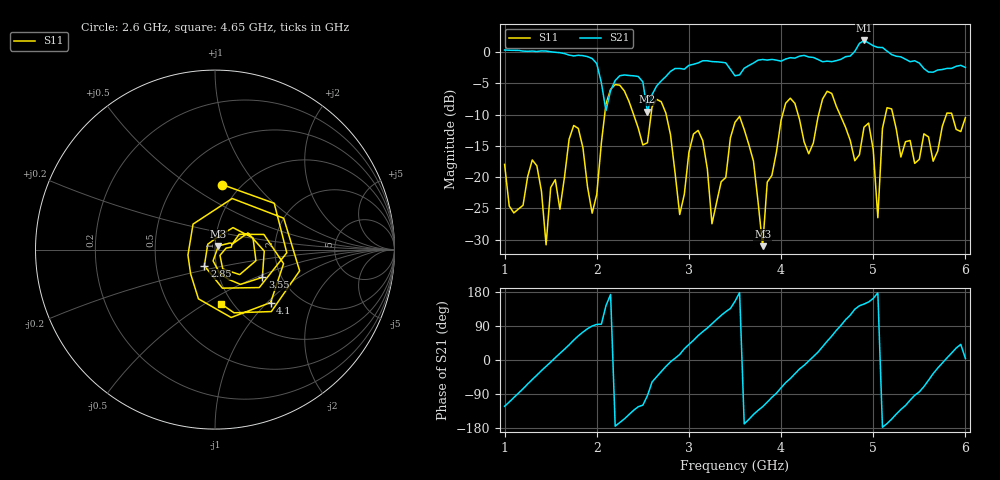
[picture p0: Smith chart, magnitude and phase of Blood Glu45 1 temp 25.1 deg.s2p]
! NanoVNA-App
! Date: 2024-03-20 19:52:44
! Start: 1GHz Stop: 6GHz Points: 101
! S-Parameter data: F S11 S21 S12 S22
# Hz S RI R 50
!  Frequency  S11_Real  S11_Imag  S21_Real  S21_Imag  S12_Real  S12_Imag  S22_Real  S22_Imag
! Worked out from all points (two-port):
!   101 points, 1 GHz to 6 GHz, reference 50 ohm
!   highest |S21| = 1.86 dB at 4.9 GHz (marker M1); lowest = -9.5 dB at 2.55 GHz (marker M2)
!   |S21| within 3 dB of the highest: start of sweep to 1.957 GHz; 4.652 GHz to 5.35 GHz (698.1 MHz wide, 14 % of centre)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
!   lowest |S11| = -31.0 dB at 3.8 GHz (marker M3), VSWR 1.06, Z = 51.9 + j2.15 ohm
!   |S11| at or under -10 dB: start of sweep to 2.086 GHz; 2.753 GHz to 4.016 GHz (1.263 GHz wide, 37.3 % of centre); 5.214 GHz to 5.794 GHz (580.1 MHz wide, 10.5 % of centre)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
!   S12 and S22 are empty: the file has one direction only
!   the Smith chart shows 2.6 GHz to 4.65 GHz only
!   S11 on the Smith chart (normalised r, x): 2.6 GHz: 0.82, +0.69; 2.85 GHz: 0.87, -0.16; 3.55 GHz: 1.60, -0.55; 4.1 GHz: 1.45, -1.05; 4.65 GHz: 0.88, -0.59
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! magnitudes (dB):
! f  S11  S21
! 1 GHz  -18.0  0.3
! 1.35 GHz  -18.2  0.1
! 1.45 GHz  -30.8  0.2
! 1.85 GHz  -15.3  -0.6
! 1.95 GHz  -25.8  -1.0
! 2.15 GHz  -6.0  -6.1
! 2.55 GHz  -14.5  -9.5
! 2.6 GHz  -8.8  -6.8
! 2.7 GHz  -8.0  -4.6
! 2.85 GHz  -19.4  -2.6
! 3.1 GHz  -12.5  -1.7
! 3.25 GHz  -27.5  -1.5
! 3.5 GHz  -11.2  -3.8
! 3.55 GHz  -10.3  -3.6
! 3.8 GHz  -31.0  -1.2
! 4.1 GHz  -7.4  -0.9
! 4.35 GHz  -14.5  -0.9
! 4.65 GHz  -10.4  -1.2
! 4.9 GHz  -12.0  1.9
! 5.05 GHz  -26.5  0.8
! 5.2 GHz  -9.1  -0.4
! 6 GHz  -10.5  -2.4
